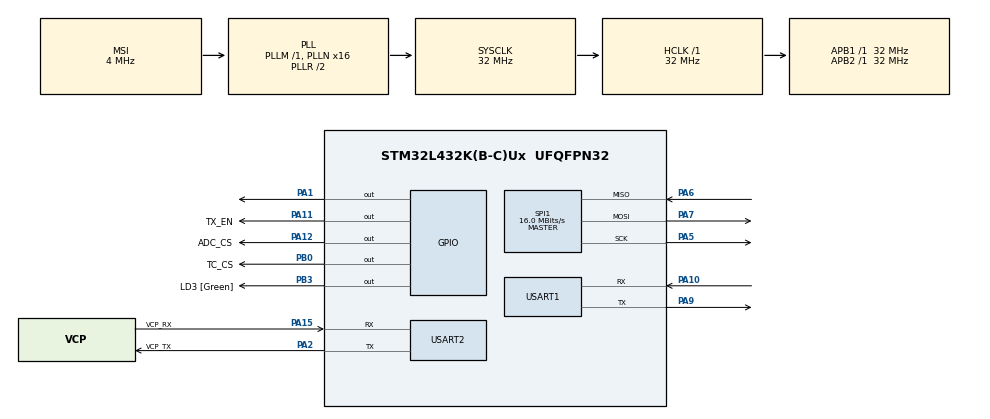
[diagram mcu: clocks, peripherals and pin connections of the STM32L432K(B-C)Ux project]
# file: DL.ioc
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Mcu.Family=STM32L4
Mcu.Name=STM32L432K(B-C)Ux
Mcu.Package=UFQFPN32
NVIC.PriorityGroup=NVIC_PRIORITYGROUP_4
PA0.GPIO_Label=MCO [High speed clock in]
PA0.Mode=HSE-External-Clock-Source-for-LittleOrca
PA0.Signal=RCC_CK_IN
PA1.Signal=GPIO_Output
PA10.Mode=Asynchronous
PA10.Signal=USART1_RX
PA11.GPIO_Label=TX_EN
PA11.Signal=GPIO_Output
PA12.GPIO_Label=ADC_CS
PA12.Signal=GPIO_Output
PA13\ (JTMS-SWDIO).GPIO_Label=SWDIO
PA13\ (JTMS-SWDIO).Mode=Serial_Wire
PA13\ (JTMS-SWDIO).Signal=SYS_JTMS-SWDIO
PA14\ (JTCK-SWCLK).GPIO_Label=SWCLK
PA14\ (JTCK-SWCLK).Mode=Serial_Wire
PA14\ (JTCK-SWCLK).Signal=SYS_JTCK-SWCLK
PA15\ (JTDI).GPIO_Label=VCP_RX
PA15\ (JTDI).Mode=Asynchronous
PA15\ (JTDI).Signal=USART2_RX
PA2.GPIO_Label=VCP_TX
PA2.Mode=Asynchronous
PA2.Signal=USART2_TX
PA5.Mode=Full_Duplex_Master
PA5.Signal=SPI1_SCK
PA6.Mode=Full_Duplex_Master
PA6.Signal=SPI1_MISO
PA7.Mode=Full_Duplex_Master
PA7.Signal=SPI1_MOSI
PA9.Mode=Asynchronous
PA9.Signal=USART1_TX
PB0.GPIO_Label=TC_CS
PB0.Signal=GPIO_Output
PB3\ (JTDO-TRACESWO).GPIO_Label=LD3 [Green]
PB3\ (JTDO-TRACESWO).Signal=GPIO_Output
PC14-OSC32_IN\ (PC14).Mode=LSE-External-Oscillator
PC14-OSC32_IN\ (PC14).Signal=RCC_OSC32_IN
PC15-OSC32_OUT\ (PC15).Mode=LSE-External-Oscillator
PC15-OSC32_OUT\ (PC15).Signal=RCC_OSC32_OUT
ProjectManager.HeapSize=0x200
ProjectManager.StackSize=0x400
ProjectManager.TargetToolchain=STM32CubeIDE
RCC.AHBFreq_Value=32000000
RCC.APB1Freq_Value=32000000
RCC.APB1TimFreq_Value=32000000
RCC.APB2Freq_Value=32000000
RCC.APB2TimFreq_Value=32000000
RCC.CortexFreq_Value=32000000
RCC.HCLKFreq_Value=32000000
RCC.HSE_VALUE=8000000
RCC.HSI16_VALUE=16000000
RCC.HSI48_VALUE=48000000
RCC.HSI_VALUE=16000000
RCC.MSI_VALUE=4000000
RCC.PLLMUL=RCC_PLLMUL_4
RCC.PLLN=16
RCC.SYSCLKFreq_VALUE=32000000
RCC.SYSCLKSource=RCC_SYSCLKSOURCE_PLLCLK
RCC.VCOOutputFreq_Value=64000000
SPI1.CalculateBaudRate=16.0 MBits/s
SPI1.DataSize=SPI_DATASIZE_8BIT
SPI1.Direction=SPI_DIRECTION_2LINES
SPI1.Mode=SPI_MODE_MASTER
SPI1.VirtualType=VM_MASTER
USART1.VirtualMode-Asynchronous=VM_ASYNC
USART2.VirtualMode-Asynchronous=VM_ASYNC
board=NUCLEO-L432KC

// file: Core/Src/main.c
/* USER CODE BEGIN Header */
/**
  ******************************************************************************
  * @file           : main.c
  * @brief          : Main program body
  ******************************************************************************
  * @attention
  *
  * Copyright (c) 2024 STMicroelectronics.
  * All rights reserved.
  *
  * This software is licensed under terms that can be found in the LICENSE file
  * in the root directory of this software component.
  * If no LICENSE file comes with this software, it is provided AS-IS.
  *
  ******************************************************************************
  */
/* USER CODE END Header */
#include "main.h"

/* USER CODE BEGIN Includes */
#include <string.h>
#include <stdio.h>
#include <stdarg.h>
#include "MAX31855.h"
#include "mcp3204.h"
/* USER CODE END Includes */

SPI_HandleTypeDef hspi1;

UART_HandleTypeDef huart1;
UART_HandleTypeDef huart2;

/* USER CODE BEGIN PV */
//testing
float testf = 53.22;

#define START_MARKER 0x7E

//status vars
int tc_status = 0; //0 is not active, 1 is active and in operation, 2 is errored
int adc_status = 0; //0 is not active, 1 is active and in operation, 2 is errored

//software enable

int tc_en_bool = 1; //change to 1 to enable tc
int adc_en_bool = 1; //change to 1 to enable adc
int rs_en_bool = 1; //change to 1 to enable adc

//handlers
MAX31855_StateHandle MAX31855_Handle;
MCP3204 ad_MCP3204 = {1, 5};
/* USER CODE END PV */

void SystemClock_Config(void);
static void MX_GPIO_Init(void);
static void MX_USART2_UART_Init(void);
static void MX_SPI1_Init(void);
static void MX_USART1_UART_Init(void);
/* USER CODE BEGIN PFP */

//
void myprintf(const char *fmt, ...); //deprecated
void send_message(uint8_t sensor_type, uint8_t sensor_id, uint8_t *payload, uint8_t length);
//

//new printf
#ifdef __GNUC__
#define PUTCHAR_PROTOTYPE int __io_putchar(int ch)
#else
#define PUTCHAR_PROTOTYPE int fputc(int ch, FILE *f)
#endif

PUTCHAR_PROTOTYPE
{
  HAL_UART_Transmit(&huart2, (uint8_t *)&ch, 1, HAL_MAX_DELAY);
  return ch;
}

/* USER CODE END PFP */

/* USER CODE BEGIN 0 */

//deprecated
void myprintf(const char *fmt, ...) {
    static char buffer[256];
    va_list args;
    va_start(args, fmt);
    vsnprintf(buffer, sizeof(buffer), fmt, args);
    va_end(args);

    int len = strlen(buffer);
    HAL_UART_Transmit(&huart2, (uint8_t*)buffer, len, -1);
}

void send_message(uint8_t sensor_type, uint8_t sensor_id, uint8_t *payload, uint8_t length) {
    uint8_t message[length + 5];
    uint8_t checksum = 0;

    message[0] = START_MARKER;
    message[1] = length;
    message[2] = sensor_type;
    message[3] = sensor_id;

    for (uint8_t i = 0; i < length; i++) {
        message[4 + i] = payload[i];
        checksum ^= payload[i];
    }

    message[length + 4] = checksum;

    HAL_GPIO_WritePin(TX_EN_GPIO_Port, TX_EN_Pin, GPIO_PIN_SET);
    HAL_UART_Transmit(&huart1, message, length + 5, HAL_MAX_DELAY);
    HAL_GPIO_WritePin(TX_EN_GPIO_Port, TX_EN_Pin, GPIO_PIN_RESET);
}

//uint32_t Timer = HAL_GetTick();
/* USER CODE END 0 */

int main(void)
{

  /* MCU Configuration--------------------------------------------------------*/

  /* Reset of all peripherals, Initializes the Flash interface and the Systick. */
  HAL_Init();

  /* Configure the system clock */
  SystemClock_Config();

  /* Initialize all configured peripherals */
  MX_GPIO_Init();
  MX_USART2_UART_Init();
  MX_SPI1_Init();
  MX_USART1_UART_Init();
  /* USER CODE BEGIN 2 */
  MAX31855_Init(&MAX31855_Handle, &hspi1,GPIOB, GPIO_PIN_0);
  printf("\r\n~ I am Joe The DataLogger I am Alive~\r\n");
  /* USER CODE END 2 */

  /* Infinite loop */
  while (1)
  {

    /* USER CODE BEGIN 3 */
	  printf("\r\n~heartbeat~\r\n");
	  float temp = 0;
	  float internal_temp = 0;
	  float adc_value = 0;
	  //myprintf("%f", testf);
	  //int g = 4;
	  //printf("%d", g);
	  //if ((HAL_GetTick() - Timer) > 1000) {

	  //TC code
	  if (tc_en_bool == 1) {
		  	  	printf("\r\nTC Enabled\r\n");
	  			MAX31855_ReadData(&MAX31855_Handle);
	  			//printf("Temperature: %f\r\nInternal temperature: %f\r\n", MAX31855_GetTemperature(&MAX31855_Handle),MAX31855_GeInternalTemperature(&MAX31855_Handle));
	  			if(MAX31855_GetFault(&MAX31855_Handle)){
	  				tc_status = 2;
	  				printf("TC Check Fault: %d\r\n", MAX31855_GetFault(&MAX31855_Handle));
	  				printf("TC Temperature: %f\r\nTC Internal temperature: %f\r\n", MAX31855_GetTemperature(&MAX31855_Handle),MAX31855_GeInternalTemperature(&MAX31855_Handle));
	  			}

	  			if(!MAX31855_GetFault(&MAX31855_Handle))
	  			{
	  			tc_status = 1;
	  			printf("TC_OK\r\n");
	            temp = MAX31855_GetTemperature(&MAX31855_Handle);
	            internal_temp = MAX31855_GeInternalTemperature(&MAX31855_Handle);
	  			printf("TC Temperature: %f\r\nTC Internal temperature: %f\r\n", MAX31855_GetTemperature(&MAX31855_Handle),MAX31855_GeInternalTemperature(&MAX31855_Handle));
	  			}

	  			//Timer = HAL_GetTick();
	  		}

	  //ADC code
	  if (adc_en_bool == 1) {
		  	  printf("\r\nADC Enabled\r\n");
		      static char msg[55];
		      if (MCP3204_convert(&hspi1, GPIOA, GPIO_PIN_12, singleEnded, CH0, &ad_MCP3204, msg)) {
		    	  adc_status = 2;
		    	  printf("ADC Check Fault: Error during conversion.\n");
		          printf("%s\n", msg);
		      }

		      else{
		    	  adc_status = 1;
		    	  printf("ADC_OK\r\n");
		    	  adc_value = MCP3204_analogValue(ad_MCP3204);
		    	  printf("ADC CH0 Value: %.3lf\n\r", adc_value);
		      }

	  			//Timer = HAL_GetTick();
	  		}

	  //rs code
	  if (rs_en_bool == 1) {
		  	  printf("\r\nRS Comms Enabled\r\n");
	          char payload[10];

		  	  //tc

	          // Prepare and send the temperature data via RS485
	          snprintf(payload, sizeof(payload), "%.2f", temp);
	          send_message('T', 2, (uint8_t*)payload, strlen(payload));
	          printf("\r\nRS Sent: %f\r\n", temp);

	          //adc

	          // Prepare and send the message via RS485
	          snprintf(payload, sizeof(payload), "%.3lf", adc_value);
	          send_message('A', 1, (uint8_t*)payload, strlen(payload));
	          printf("\r\nRS Sent: %f\r\n", adc_value);
	  			//Timer = HAL_GetTick();
	  		}

  }
  /* USER CODE END 3 */
}

void SystemClock_Config(void)
{
  RCC_OscInitTypeDef RCC_OscInitStruct = {0};
  RCC_ClkInitTypeDef RCC_ClkInitStruct = {0};

  /** Configure the main internal regulator output voltage
  */
  if (HAL_PWREx_ControlVoltageScaling(PWR_REGULATOR_VOLTAGE_SCALE1) != HAL_OK)
  {
    Error_Handler();
  }

  /** Configure LSE Drive Capability
  */
  HAL_PWR_EnableBkUpAccess();
  __HAL_RCC_LSEDRIVE_CONFIG(RCC_LSEDRIVE_LOW);

  /** Initializes the RCC Oscillators according to the specified parameters
  * in the RCC_OscInitTypeDef structure.
  */
  RCC_OscInitStruct.OscillatorType = RCC_OSCILLATORTYPE_LSE|RCC_OSCILLATORTYPE_MSI;
  RCC_OscInitStruct.LSEState = RCC_LSE_ON;
  RCC_OscInitStruct.MSIState = RCC_MSI_ON;
  RCC_OscInitStruct.MSICalibrationValue = 0;
  RCC_OscInitStruct.MSIClockRange = RCC_MSIRANGE_6;
  RCC_OscInitStruct.PLL.PLLState = RCC_PLL_ON;
  RCC_OscInitStruct.PLL.PLLSource = RCC_PLLSOURCE_MSI;
  RCC_OscInitStruct.PLL.PLLM = 1;
  RCC_OscInitStruct.PLL.PLLN = 16;
  RCC_OscInitStruct.PLL.PLLP = RCC_PLLP_DIV7;
  RCC_OscInitStruct.PLL.PLLQ = RCC_PLLQ_DIV2;
  RCC_OscInitStruct.PLL.PLLR = RCC_PLLR_DIV2;
  if (HAL_RCC_OscConfig(&RCC_OscInitStruct) != HAL_OK)
  {
    Error_Handler();
  }

  /** Initializes the CPU, AHB and APB buses clocks
  */
  RCC_ClkInitStruct.ClockType = RCC_CLOCKTYPE_HCLK|RCC_CLOCKTYPE_SYSCLK
                              |RCC_CLOCKTYPE_PCLK1|RCC_CLOCKTYPE_PCLK2;
  RCC_ClkInitStruct.SYSCLKSource = RCC_SYSCLKSOURCE_PLLCLK;
  RCC_ClkInitStruct.AHBCLKDivider = RCC_SYSCLK_DIV1;
  RCC_ClkInitStruct.APB1CLKDivider = RCC_HCLK_DIV1;
  RCC_ClkInitStruct.APB2CLKDivider = RCC_HCLK_DIV1;

  if (HAL_RCC_ClockConfig(&RCC_ClkInitStruct, FLASH_LATENCY_1) != HAL_OK)
  {
    Error_Handler();
  }

  /** Enable MSI Auto calibration
  */
  HAL_RCCEx_EnableMSIPLLMode();
}

static void MX_SPI1_Init(void)
{

  /* SPI1 parameter configuration*/
  hspi1.Instance = SPI1;
  hspi1.Init.Mode = SPI_MODE_MASTER;
  hspi1.Init.Direction = SPI_DIRECTION_2LINES;
  hspi1.Init.DataSize = SPI_DATASIZE_8BIT;
  hspi1.Init.CLKPolarity = SPI_POLARITY_LOW;
  hspi1.Init.CLKPhase = SPI_PHASE_1EDGE;
  hspi1.Init.NSS = SPI_NSS_SOFT;
  hspi1.Init.BaudRatePrescaler = SPI_BAUDRATEPRESCALER_2;
  hspi1.Init.FirstBit = SPI_FIRSTBIT_MSB;
  hspi1.Init.TIMode = SPI_TIMODE_DISABLE;
  hspi1.Init.CRCCalculation = SPI_CRCCALCULATION_DISABLE;
  hspi1.Init.CRCPolynomial = 7;
  hspi1.Init.CRCLength = SPI_CRC_LENGTH_DATASIZE;
  hspi1.Init.NSSPMode = SPI_NSS_PULSE_ENABLE;
  if (HAL_SPI_Init(&hspi1) != HAL_OK)
  {
    Error_Handler();
  }

}

static void MX_USART1_UART_Init(void)
{

  huart1.Instance = USART1;
  huart1.Init.BaudRate = 115200;
  huart1.Init.WordLength = UART_WORDLENGTH_8B;
  huart1.Init.StopBits = UART_STOPBITS_1;
  huart1.Init.Parity = UART_PARITY_NONE;
  huart1.Init.Mode = UART_MODE_TX_RX;
  huart1.Init.HwFlowCtl = UART_HWCONTROL_NONE;
  huart1.Init.OverSampling = UART_OVERSAMPLING_16;
  huart1.Init.OneBitSampling = UART_ONE_BIT_SAMPLE_DISABLE;
  huart1.AdvancedInit.AdvFeatureInit = UART_ADVFEATURE_NO_INIT;
  if (HAL_UART_Init(&huart1) != HAL_OK)
  {
    Error_Handler();
  }

}

static void MX_USART2_UART_Init(void)
{

  huart2.Instance = USART2;
  huart2.Init.BaudRate = 115200;
  huart2.Init.WordLength = UART_WORDLENGTH_8B;
  huart2.Init.StopBits = UART_STOPBITS_1;
  huart2.Init.Parity = UART_PARITY_NONE;
  huart2.Init.Mode = UART_MODE_TX_RX;
  huart2.Init.HwFlowCtl = UART_HWCONTROL_NONE;
  huart2.Init.OverSampling = UART_OVERSAMPLING_16;
  huart2.Init.OneBitSampling = UART_ONE_BIT_SAMPLE_DISABLE;
  huart2.AdvancedInit.AdvFeatureInit = UART_ADVFEATURE_NO_INIT;
  if (HAL_UART_Init(&huart2) != HAL_OK)
  {
    Error_Handler();
  }

}

static void MX_GPIO_Init(void)
{
  GPIO_InitTypeDef GPIO_InitStruct = {0};

  /* GPIO Ports Clock Enable */
  __HAL_RCC_GPIOC_CLK_ENABLE();
  __HAL_RCC_GPIOA_CLK_ENABLE();
  __HAL_RCC_GPIOB_CLK_ENABLE();

  /*Configure GPIO pin Output Level */
  HAL_GPIO_WritePin(GPIOA, GPIO_PIN_1|TX_EN_Pin|ADC_CS_Pin, GPIO_PIN_RESET);

  /*Configure GPIO pin Output Level */
  HAL_GPIO_WritePin(GPIOB, TC_CS_Pin|LD3_Pin, GPIO_PIN_RESET);

  /*Configure GPIO pins : PA1 TX_EN_Pin ADC_CS_Pin */
  GPIO_InitStruct.Pin = GPIO_PIN_1|TX_EN_Pin|ADC_CS_Pin;
  GPIO_InitStruct.Mode = GPIO_MODE_OUTPUT_PP;
  GPIO_InitStruct.Pull = GPIO_NOPULL;
  GPIO_InitStruct.Speed = GPIO_SPEED_FREQ_LOW;
  HAL_GPIO_Init(GPIOA, &GPIO_InitStruct);

  /*Configure GPIO pins : TC_CS_Pin LD3_Pin */
  GPIO_InitStruct.Pin = TC_CS_Pin|LD3_Pin;
  GPIO_InitStruct.Mode = GPIO_MODE_OUTPUT_PP;
  GPIO_InitStruct.Pull = GPIO_NOPULL;
  GPIO_InitStruct.Speed = GPIO_SPEED_FREQ_LOW;
  HAL_GPIO_Init(GPIOB, &GPIO_InitStruct);

}

void Error_Handler(void)
{
  __disable_irq();
  while (1)
  {
  }
}
